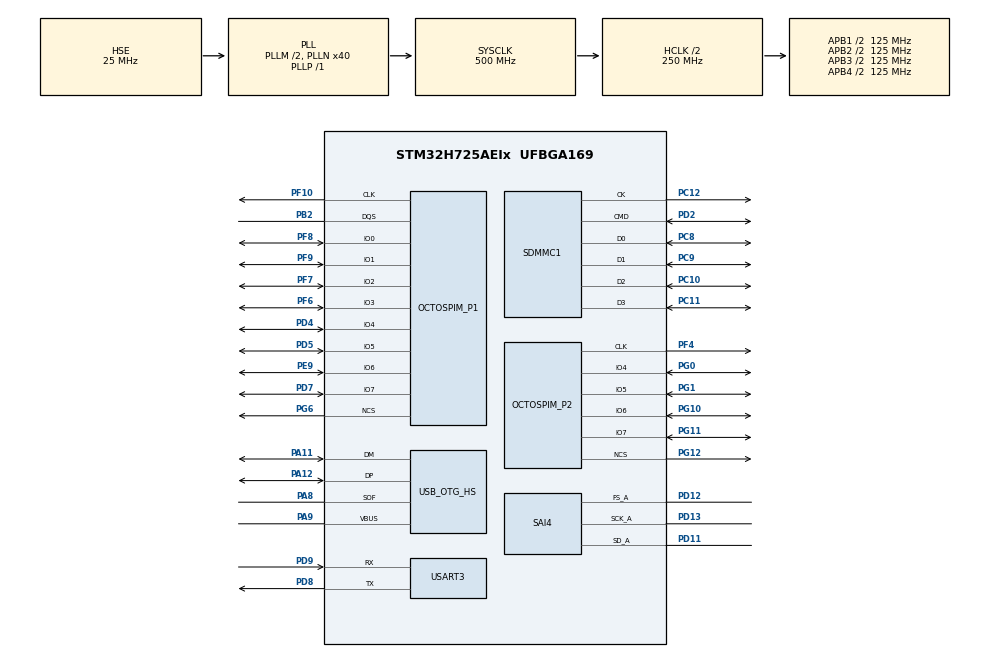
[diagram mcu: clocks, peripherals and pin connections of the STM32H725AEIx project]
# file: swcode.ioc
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Bdma.Request0=SAI4_A
Bdma.RequestsNb=1
Bdma.SAI4_A.0.Direction=DMA_PERIPH_TO_MEMORY
Bdma.SAI4_A.0.EventEnable=DISABLE
Bdma.SAI4_A.0.Instance=BDMA_Channel0
Bdma.SAI4_A.0.MemDataAlignment=DMA_MDATAALIGN_HALFWORD
Bdma.SAI4_A.0.MemInc=DMA_MINC_ENABLE
Bdma.SAI4_A.0.Mode=DMA_CIRCULAR
Bdma.SAI4_A.0.PeriphDataAlignment=DMA_PDATAALIGN_HALFWORD
Bdma.SAI4_A.0.PeriphInc=DMA_PINC_DISABLE
Bdma.SAI4_A.0.Polarity=HAL_DMAMUX_REQ_GEN_RISING
Bdma.SAI4_A.0.Priority=DMA_PRIORITY_HIGH
Bdma.SAI4_A.0.RequestNumber=1
Bdma.SAI4_A.0.SignalID=NONE
Bdma.SAI4_A.0.SyncEnable=DISABLE
Bdma.SAI4_A.0.SyncPolarity=HAL_DMAMUX_SYNC_NO_EVENT
Bdma.SAI4_A.0.SyncRequestNumber=1
Bdma.SAI4_A.0.SyncSignalID=NONE
CORTEX_M7.AccessPermission_S-Cortex_Memory_Protection_Unit_Region1_Settings_S=MPU_REGION_FULL_ACCESS
CORTEX_M7.AccessPermission_S-Cortex_Memory_Protection_Unit_Region2_Settings_S=MPU_REGION_FULL_ACCESS
CORTEX_M7.AccessPermission_S-Cortex_Memory_Protection_Unit_Region3_Settings_S=MPU_REGION_FULL_ACCESS
CORTEX_M7.AccessPermission_S-Cortex_Memory_Protection_Unit_Region4_Settings_S=MPU_REGION_FULL_ACCESS
CORTEX_M7.AccessPermission_S-Cortex_Memory_Protection_Unit_Region5_Settings_S=MPU_REGION_FULL_ACCESS
CORTEX_M7.AccessPermission_S-Cortex_Memory_Protection_Unit_Region6_Settings_S=MPU_REGION_FULL_ACCESS
CORTEX_M7.AccessPermission_S-Cortex_Memory_Protection_Unit_Region7_Settings_S=MPU_REGION_FULL_ACCESS
CORTEX_M7.BaseAddress_S-Cortex_Memory_Protection_Unit_Region1_Settings_S=0x08000000
CORTEX_M7.BaseAddress_S-Cortex_Memory_Protection_Unit_Region2_Settings_S=0x20000000
CORTEX_M7.BaseAddress_S-Cortex_Memory_Protection_Unit_Region3_Settings_S=0x24000000
CORTEX_M7.BaseAddress_S-Cortex_Memory_Protection_Unit_Region4_Settings_S=0x30000000
CORTEX_M7.BaseAddress_S-Cortex_Memory_Protection_Unit_Region5_Settings_S=0x40000000
CORTEX_M7.BaseAddress_S-Cortex_Memory_Protection_Unit_Region6_Settings_S=0x90000000
CORTEX_M7.BaseAddress_S-Cortex_Memory_Protection_Unit_Region7_Settings_S=0x38000000
CORTEX_M7.CPU_DCache=Enabled
CORTEX_M7.CPU_ICache=Enabled
CORTEX_M7.DisableExec_S-Cortex_Memory_Protection_Unit_Region2_Settings_S=MPU_INSTRUCTION_ACCESS_DISABLE
CORTEX_M7.DisableExec_S-Cortex_Memory_Protection_Unit_Region3_Settings_S=MPU_INSTRUCTION_ACCESS_DISABLE
CORTEX_M7.DisableExec_S-Cortex_Memory_Protection_Unit_Region4_Settings_S=MPU_INSTRUCTION_ACCESS_DISABLE
CORTEX_M7.DisableExec_S-Cortex_Memory_Protection_Unit_Region5_Settings_S=MPU_INSTRUCTION_ACCESS_DISABLE
CORTEX_M7.DisableExec_S-Cortex_Memory_Protection_Unit_Region6_Settings_S=MPU_INSTRUCTION_ACCESS_DISABLE
CORTEX_M7.Enable_S-Cortex_Memory_Protection_Unit_Region1_Settings_S=MPU_REGION_ENABLE
CORTEX_M7.Enable_S-Cortex_Memory_Protection_Unit_Region2_Settings_S=MPU_REGION_ENABLE
CORTEX_M7.Enable_S-Cortex_Memory_Protection_Unit_Region3_Settings_S=MPU_REGION_ENABLE
CORTEX_M7.Enable_S-Cortex_Memory_Protection_Unit_Region4_Settings_S=MPU_REGION_ENABLE
CORTEX_M7.Enable_S-Cortex_Memory_Protection_Unit_Region5_Settings_S=MPU_REGION_ENABLE
CORTEX_M7.Enable_S-Cortex_Memory_Protection_Unit_Region6_Settings_S=MPU_REGION_ENABLE
CORTEX_M7.Enable_S-Cortex_Memory_Protection_Unit_Region7_Settings_S=MPU_REGION_ENABLE
CORTEX_M7.IsBufferable_S-Cortex_Memory_Protection_Unit_Region3_Settings_S=MPU_ACCESS_BUFFERABLE
CORTEX_M7.IsBufferable_S-Cortex_Memory_Protection_Unit_Region4_Settings_S=MPU_ACCESS_BUFFERABLE
CORTEX_M7.IsBufferable_S-Cortex_Memory_Protection_Unit_Region5_Settings_S=MPU_ACCESS_BUFFERABLE
CORTEX_M7.IsBufferable_S-Cortex_Memory_Protection_Unit_Region6_Settings_S=MPU_ACCESS_BUFFERABLE
CORTEX_M7.IsCacheable_S-Cortex_Memory_Protection_Unit_Region1_Settings_S=MPU_ACCESS_CACHEABLE
CORTEX_M7.IsCacheable_S-Cortex_Memory_Protection_Unit_Region2_Settings_S=MPU_ACCESS_CACHEABLE
CORTEX_M7.IsCacheable_S-Cortex_Memory_Protection_Unit_Region3_Settings_S=MPU_ACCESS_CACHEABLE
CORTEX_M7.IsCacheable_S-Cortex_Memory_Protection_Unit_Region4_Settings_S=MPU_ACCESS_CACHEABLE
CORTEX_M7.IsCacheable_S-Cortex_Memory_Protection_Unit_Region6_Settings_S=MPU_ACCESS_CACHEABLE
CORTEX_M7.IsCacheable_S-Cortex_Memory_Protection_Unit_Region7_Settings_S=MPU_ACCESS_NOT_CACHEABLE
CORTEX_M7.IsShareable_S-Cortex_Memory_Protection_Unit_Region5_Settings_S=MPU_ACCESS_SHAREABLE
CORTEX_M7.IsShareable_S-Cortex_Memory_Protection_Unit_Region7_Settings_S=MPU_ACCESS_SHAREABLE
CORTEX_M7.MPU_Control=MPU_HFNMI_PRIVDEF
CORTEX_M7.Size_S-Cortex_Memory_Protection_Unit_Region1_Settings_S=MPU_REGION_SIZE_512KB
CORTEX_M7.Size_S-Cortex_Memory_Protection_Unit_Region2_Settings_S=MPU_REGION_SIZE_128KB
CORTEX_M7.Size_S-Cortex_Memory_Protection_Unit_Region3_Settings_S=MPU_REGION_SIZE_512KB
CORTEX_M7.Size_S-Cortex_Memory_Protection_Unit_Region4_Settings_S=MPU_REGION_SIZE_64KB
CORTEX_M7.Size_S-Cortex_Memory_Protection_Unit_Region5_Settings_S=MPU_REGION_SIZE_256MB
CORTEX_M7.Size_S-Cortex_Memory_Protection_Unit_Region6_Settings_S=MPU_REGION_SIZE_32MB
CORTEX_M7.Size_S-Cortex_Memory_Protection_Unit_Region7_Settings_S=MPU_REGION_SIZE_16KB
CORTEX_M7.TypeExtField_S-Cortex_Memory_Protection_Unit_Region2_Settings_S=MPU_TEX_LEVEL1
CORTEX_M7.TypeExtField_S-Cortex_Memory_Protection_Unit_Region3_Settings_S=MPU_TEX_LEVEL1
CORTEX_M7.TypeExtField_S-Cortex_Memory_Protection_Unit_Region4_Settings_S=MPU_TEX_LEVEL1
CORTEX_M7.TypeExtField_S-Cortex_Memory_Protection_Unit_Region6_Settings_S=MPU_TEX_LEVEL1
CORTEX_M7.default_mode_Activation=1
FATFS._FS_EXFAT=1
FATFS._FS_LOCK=4
FATFS._FS_RPATH=2
FATFS._USE_CHMOD=1
FATFS._USE_EXPAND=1
FATFS._USE_FIND=1
FATFS._USE_FORWARD=1
FATFS._USE_LABEL=1
FATFS._USE_LFN=3
FATFS._USE_MUTEX=1
FATFS._USE_TRIM=1
FREERTOS.INCLUDE_pcTaskGetTaskName=1
FREERTOS.INCLUDE_uxTaskGetStackHighWaterMark2=1
FREERTOS.INCLUDE_vTaskCleanUpResources=1
FREERTOS.INCLUDE_xEventGroupSetBitFromISR=1
FREERTOS.INCLUDE_xTaskAbortDelay=1
FREERTOS.INCLUDE_xTaskGetHandle=1
FREERTOS.Tasks01=defaultTask,24,2048,StartDefaultTask,Default,NULL,Dynamic,NULL,NULL;mic2isp,32,1024,mic2isp_task,Default,NULL,Dynamic,NULL,NULL;watchdog,40,512,watchdog_task,Default,NULL,Dynamic,NULL,NULL
FREERTOS.configCHECK_FOR_STACK_OVERFLOW=2
FREERTOS.configENABLE_FPU=1
FREERTOS.configGENERATE_RUN_TIME_STATS=1
FREERTOS.configRECORD_STACK_HIGH_ADDRESS=1
FREERTOS.configTOTAL_HEAP_SIZE=204800
FREERTOS.configUSE_DAEMON_TASK_STARTUP_HOOK=1
FREERTOS.configUSE_IDLE_HOOK=1
FREERTOS.configUSE_MALLOC_FAILED_HOOK=1
FREERTOS.configUSE_NEWLIB_REENTRANT=1
FREERTOS.configUSE_POSIX_ERRNO=1
FREERTOS.configUSE_STATS_FORMATTING_FUNCTIONS=1
FREERTOS.configUSE_TICKLESS_IDLE=1
FREERTOS.configUSE_TICK_HOOK=1
IWDG1.Prescaler=IWDG_PRESCALER_256
Mcu.Family=STM32H7
Mcu.Name=STM32H725AEIx
Mcu.Package=UFBGA169
NVIC.BDMA_Channel0_IRQn=true\:6\:0\:true\:false\:true\:true\:false\:true\:true
NVIC.OTG_HS_EP1_IN_IRQn=true\:8\:0\:true\:false\:true\:true\:true\:true\:true
NVIC.OTG_HS_EP1_OUT_IRQn=true\:8\:0\:true\:false\:true\:true\:true\:true\:true
NVIC.OTG_HS_IRQn=true\:8\:0\:true\:false\:true\:true\:true\:true\:true
NVIC.PriorityGroup=NVIC_PRIORITYGROUP_4
NVIC.SAI4_IRQn=true\:6\:0\:true\:false\:true\:true\:true\:true\:true
NVIC.TIM1_UP_IRQn=true\:15\:0\:false\:false\:true\:false\:false\:true\:true
NVIC.TimeBase=TIM1_UP_IRQn
NVIC.TimeBaseIP=TIM1
NVIC.USART3_IRQn=true\:7\:0\:true\:false\:true\:true\:true\:true\:true
OCTOSPI1.ChipSelectHighTimeCycle=2
OCTOSPI1.ClockMode=HAL_OSPI_CLOCK_MODE_0
OCTOSPI1.ClockPrescaler=4
OCTOSPI1.DelayHoldQuarterCycle=HAL_OSPI_DHQC_DISABLE
OCTOSPI1.DeviceSize=23
OCTOSPI1.DualQuadMode=HAL_OSPI_DUALQUAD_DISABLE
OCTOSPI1.FifoThresholdByte=4
OCTOSPI1.MemoryType=HAL_OSPI_MEMTYPE_APMEMORY
OCTOSPI1.SampleShifting=HAL_OSPI_SAMPLE_SHIFTING_NONE
OCTOSPI1.WrapSize=HAL_OSPI_WRAP_NOT_SUPPORTED
OCTOSPI2.ClockMode=HAL_OSPI_CLOCK_MODE_0
OCTOSPI2.ClockPrescaler=2
OCTOSPI2.DelayHoldQuarterCycle=HAL_OSPI_DHQC_DISABLE
OCTOSPI2.DeviceSize=27
OCTOSPI2.MemoryType=HAL_OSPI_MEMTYPE_MICRON
OCTOSPI2.SampleShifting=HAL_OSPI_SAMPLE_SHIFTING_NONE
OCTOSPI2.WrapSize=HAL_OSPI_WRAP_NOT_SUPPORTED
PA11.Mode=Device_Only_FS
PA11.Signal=USB_OTG_HS_DM
PA12.Mode=Device_Only_FS
PA12.Signal=USB_OTG_HS_DP
PA13(JTMS/SWDIO).Mode=Serial_Wire
PA13(JTMS/SWDIO).Signal=DEBUG_JTMS-SWDIO
PA14(JTCK/SWCLK).Mode=Serial_Wire
PA14(JTCK/SWCLK).Signal=DEBUG_JTCK-SWCLK
PA8.Mode=Activate_SOF_FS
PA8.Signal=USB_OTG_HS_SOF
PA9.Mode=Activate_VBUS_FS
PA9.Signal=USB_OTG_HS_VBUS
PB2.Mode=OCTOSPI1_Port1_DQS
PB2.Signal=OCTOSPIM_P1_DQS
PC10.GPIO_PuPd=GPIO_PULLUP
PC10.Mode=SD_4_bits_Wide_bus
PC10.Signal=SDMMC1_D2
PC11.GPIO_PuPd=GPIO_PULLUP
PC11.Mode=SD_4_bits_Wide_bus
PC11.Signal=SDMMC1_D3
PC12.Mode=SD_4_bits_Wide_bus
PC12.Signal=SDMMC1_CK
PC14-OSC32_IN.Mode=LSE-External-Oscillator
PC14-OSC32_IN.Signal=RCC_OSC32_IN
PC15-OSC32_OUT.Mode=LSE-External-Oscillator
PC15-OSC32_OUT.Signal=RCC_OSC32_OUT
PC8.GPIO_PuPd=GPIO_PULLUP
PC8.Mode=SD_4_bits_Wide_bus
PC8.Signal=SDMMC1_D0
PC9.GPIO_PuPd=GPIO_PULLUP
PC9.Mode=SD_4_bits_Wide_bus
PC9.Signal=SDMMC1_D1
PD11.GPIO_PuPd=GPIO_PULLUP
PD11.GPIO_Speed=GPIO_SPEED_FREQ_VERY_HIGH
PD11.Mode=SAI_A_AsyncSlave
PD11.Signal=SAI4_SD_A
PD12.GPIO_PuPd=GPIO_PULLUP
PD12.GPIO_Speed=GPIO_SPEED_FREQ_VERY_HIGH
PD12.Mode=SAI_A_AsyncSlave
PD12.Signal=SAI4_FS_A
PD13.GPIO_PuPd=GPIO_PULLUP
PD13.GPIO_Speed=GPIO_SPEED_FREQ_VERY_HIGH
PD13.Mode=SAI_A_AsyncSlave
PD13.Signal=SAI4_SCK_A
PD2.GPIO_PuPd=GPIO_PULLUP
PD2.Mode=SD_4_bits_Wide_bus
PD2.Signal=SDMMC1_CMD
PD4.Mode=OCTOSPI1_IOH_Port1H
PD4.Signal=OCTOSPIM_P1_IO4
PD5.Mode=OCTOSPI1_IOH_Port1H
PD5.Signal=OCTOSPIM_P1_IO5
PD7.Mode=OCTOSPI1_IOH_Port1H
PD7.Signal=OCTOSPIM_P1_IO7
PD8.Mode=Asynchronous
PD8.Signal=USART3_TX
PD9.Mode=Asynchronous
PD9.Signal=USART3_RX
PE9.Mode=OCTOSPI1_IOH_Port1H
PE9.Signal=OCTOSPIM_P1_IO6
PF10.Mode=O1_P1_CLK
PF10.Signal=OCTOSPIM_P1_CLK
PF4.Mode=O2_P2_CLK
PF4.Signal=OCTOSPIM_P2_CLK
PF6.Mode=OCTOSPI1_IOL_Port1L
PF6.Signal=OCTOSPIM_P1_IO3
PF7.Mode=OCTOSPI1_IOL_Port1L
PF7.Signal=OCTOSPIM_P1_IO2
PF8.Mode=OCTOSPI1_IOL_Port1L
PF8.Signal=OCTOSPIM_P1_IO0
PF9.Mode=OCTOSPI1_IOL_Port1L
PF9.Signal=OCTOSPIM_P1_IO1
PG0.Mode=OCTOSPI2_IOH_Port2H
PG0.Signal=OCTOSPIM_P2_IO4
PG1.Mode=OCTOSPI2_IOH_Port2H
PG1.Signal=OCTOSPIM_P2_IO5
PG10.Mode=OCTOSPI2_IOH_Port2H
PG10.Signal=OCTOSPIM_P2_IO6
PG11.Mode=OCTOSPI2_IOH_Port2H
PG11.Signal=OCTOSPIM_P2_IO7
PG12.Mode=OCTOSPI2_Port2_NCS
PG12.Signal=OCTOSPIM_P2_NCS
PG6.Mode=OCTOSPI1_Port1_NCS
PG6.Signal=OCTOSPIM_P1_NCS
PH0-OSC_IN.Mode=HSE-External-Oscillator
PH0-OSC_IN.Signal=RCC_OSC_IN
PH1-OSC_OUT.Mode=HSE-External-Oscillator
PH1-OSC_OUT.Signal=RCC_OSC_OUT
ProjectManager.HeapSize=0x4000
ProjectManager.StackSize=0x2000
ProjectManager.TargetToolchain=STM32CubeIDE
RCC.ADCFreq_Value=200000000
RCC.APB1Freq_Value=125000000
RCC.APB2Freq_Value=125000000
RCC.APB3Freq_Value=125000000
RCC.APB4Freq_Value=125000000
RCC.CortexFreq_Value=500000000
RCC.D1PPRE=RCC_APB3_DIV2
RCC.D2PPRE1=RCC_APB1_DIV2
RCC.D2PPRE2=RCC_APB2_DIV2
RCC.D3PPRE=RCC_APB4_DIV2
RCC.DIVM1=2
RCC.DIVM2=5
RCC.DIVM3=5
RCC.DIVN1=40
RCC.DIVN2=80
RCC.DIVN3=80
RCC.DIVP1=1
RCC.DIVQ1=4
RCC.HCLKFreq_Value=250000000
RCC.HPRE=RCC_HCLK_DIV2
RCC.HSE_VALUE=25000000
RCC.HSI_VALUE=64000000
RCC.PLLSourceVirtual=RCC_PLLSOURCE_HSE
RCC.SYSCLKFreq_VALUE=500000000
RCC.SYSCLKSource=RCC_SYSCLKSOURCE_PLLCLK
RCC.USBCLockSelection=RCC_USBCLKSOURCE_HSI48
RCC.USBFreq_Value=48000000
SAI4.BasicProtocol-SAI_A_AsyncSlave=SAI_PCM_SHORT
SAI4.BasicSlotNumber-SAI_A_AsyncSlave=8
SAI4.FIFOThreshold-SAI_A_AsyncSlave=SAI_FIFOTHRESHOLD_1QF
SAI4.InitProtocol-SAI_A_AsyncSlave=Enable
SAI4.Instance-SAI_A_AsyncSlave=SAI$Index_Block_A
SAI4.MonoStereoMode-SAI_A_AsyncSlave=SAI_STEREOMODE
SAI4.OutputDrive-SAI_A_AsyncSlave=SAI_OUTPUTDRIVE_ENABLE
SAI4.VirtualMode-SAI_A_AsyncSlave=VM_SLAVE
SAI4.VirtualProtocol-SAI_A_BASIC=VM_BASIC_PROTOCOL
SDMMC1.ClockDiv=0
SDMMC1.HardwareFlowControl=SDMMC_HARDWARE_FLOW_CONTROL_ENABLE
USART3.VirtualMode-Asynchronous=VM_ASYNC
USB_DEVICE.CLASS_NAME_HS=MSC
USB_DEVICE.MSC_MEDIA_PACKET=2048
USB_DEVICE.USBD_DEBUG_LEVEL=3
USB_DEVICE.USBD_LPM_ENABLED=0
USB_DEVICE.USBD_SELF_POWERED=0
USB_DEVICE.VirtualMode=Msc
USB_DEVICE.VirtualModeHS=Msc_HS
USB_OTG_HS.VirtualMode-Device_Only_FS=Device_Only_FS
USB_OTG_HS.dma_enable-Device_Only_FS=DISABLE
USB_OTG_HS.low_power_enable-Device_Only_FS=DISABLE
USB_OTG_HS.lpm_enable-Device_Only_FS=DISABLE
USB_OTG_HS.use_dedicated_ep1-Device_Only_FS=ENABLE
VP_FATFS_VS_Generic.Mode=User_defined
VP_FREERTOS_VS_CMSIS_V2.Mode=CMSIS_V2
VP_IWDG1_VS_IWDG.Mode=IWDG_Activate
VP_MEMORYMAP_VS_MEMORYMAP.Mode=CurAppReg
VP_OCTOSPI1_VS_octo.Mode=octo_mode
VP_OCTOSPI2_VS_octo.Mode=dual_quad_mode
VP_SAI4_VP_$IpInstance_SAIA_SAI_BASIC.Mode=SAI_A_BASIC
VP_SYS_VS_tim1.Mode=TIM1
VP_USB_DEVICE_VS_USB_DEVICE_MSC_HS.Mode=MSC_HS
board=custom

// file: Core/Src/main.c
/* USER CODE BEGIN Header */
/**
  ******************************************************************************
  * @file           : main.c
  * @brief          : Main program body
  ******************************************************************************
  * @attention
  *
  * Copyright (c) 2025 STMicroelectronics.
  * All rights reserved.
  *
  * This software is licensed under terms that can be found in the LICENSE file
  * in the root directory of this software component.
  * If no LICENSE file comes with this software, it is provided AS-IS.
  *
  ******************************************************************************
  */
/* USER CODE END Header */
#include "main.h"
#include "cmsis_os.h"
#include "bdma.h"
#include "fatfs.h"
#include "iwdg.h"
#include "octospi.h"
#include "sai.h"
#include "sdmmc.h"
#include "usart.h"
#include "usb_device.h"
#include "gpio.h"

/* USER CODE BEGIN Includes */
#include "string.h"
#include "ffconf.h"
#include "clock_management.h"
#include "shell_port.h"
#include "shell.h"
#include "shell_log.h"
#include "audio_recorder.h"
#include "fs_manager.h"
#include <stdio.h>
/* USER CODE END Includes */

/* USER CODE BEGIN PV */
// Shell实例声明
extern Shell shell;
/* USER CODE END PV */

void SystemClock_Config(void);
static void MPU_Config(void);
void MX_FREERTOS_Init(void);
/* USER CODE BEGIN PFP */
// 声明UART接收回调函数
void HAL_UART_RxCpltCallback(UART_HandleTypeDef *huart);
/* USER CODE END PFP */

int main(void)
{

  /* MPU Configuration--------------------------------------------------------*/
  MPU_Config();

  /* Enable the CPU Cache */

  /* Enable I-Cache---------------------------------------------------------*/
  SCB_EnableICache();

  /* Enable D-Cache---------------------------------------------------------*/
  SCB_EnableDCache();

  /* MCU Configuration--------------------------------------------------------*/

  /* Reset of all peripherals, Initializes the Flash interface and the Systick. */
  HAL_Init();

  /* Configure the system clock */
  SystemClock_Config();

  /* Initialize all configured peripherals */
  MX_GPIO_Init();
  MX_BDMA_Init();
  MX_SDMMC1_SD_Init();
  MX_FATFS_Init();
  MX_USART3_UART_Init();
  // 初始化日志系统
  shellLogInit();
  // 初始化Shell
  shell_init();
  // 输出Shell初始化日志
  shell_init_log_output();
  MX_SAI4_Init();

  MX_OCTOSPI1_Init();
  MX_OCTOSPI2_Init();
  MX_IWDG1_Init();
  /* USER CODE BEGIN 2 */

  // 初始化全局文件系统管理器（一次性挂载）
  if (fs_manager_init() == 0) {
    SHELL_LOG_SYS_INFO("Global file system manager initialized successfully");
  } else {
    SHELL_LOG_SYS_ERROR("Failed to initialize global file system manager");
  }

   SHELL_LOG_SYS_INFO("System Clock: %lu Hz", HAL_RCC_GetSysClockFreq());

  // 初始化音频录制器
  if (audio_recorder_init() == 0) {
    SHELL_LOG_SYS_INFO("Audio recorder initialized successfully");
  } else {
    SHELL_LOG_SYS_ERROR("Failed to initialize audio recorder");
  }

  // 测试日志系统
  SHELL_LOG_SYS_INFO("System initialization completed, starting FreeRTOS scheduler");

  // UART接收中断将在shell任务中启动，这里不需要重复启动

  // 测试不同级别的调试输出 - 已禁用
  // DEBUG_PRINTF("Debug system test - all peripherals initialized");
  // SUCCESS_PRINTF("All hardware initialization completed");
  // INFO_PRINTF("MCU ready, starting FreeRTOS scheduler");

  // 演示颜色功能测试 - 已禁用
  // WARN_PRINTF("This is a warning message test");

  /* USER CODE END 2 */

  /* Init scheduler */
  osKernelInitialize();  /* Call init function for freertos objects (in cmsis_os2.c) */
  MX_FREERTOS_Init();

  /* Start scheduler */
  osKernelStart();

  /* We should never get here as control is now taken by the scheduler */

  /* Infinite loop */
  while (1)
  {

  }
}

void SystemClock_Config(void)
{
  RCC_OscInitTypeDef RCC_OscInitStruct = {0};
  RCC_ClkInitTypeDef RCC_ClkInitStruct = {0};

  /** Supply configuration update enable
  */
  HAL_PWREx_ConfigSupply(PWR_DIRECT_SMPS_SUPPLY);

  /** Configure the main internal regulator output voltage
  */
  __HAL_PWR_VOLTAGESCALING_CONFIG(PWR_REGULATOR_VOLTAGE_SCALE0);

  while(!__HAL_PWR_GET_FLAG(PWR_FLAG_VOSRDY)) {}

  /** Initializes the RCC Oscillators according to the specified parameters
  * in the RCC_OscInitTypeDef structure.
  */
  RCC_OscInitStruct.OscillatorType = RCC_OSCILLATORTYPE_HSI48|RCC_OSCILLATORTYPE_LSI
                              |RCC_OSCILLATORTYPE_HSE;
  RCC_OscInitStruct.HSEState = RCC_HSE_ON;
  RCC_OscInitStruct.LSIState = RCC_LSI_ON;
  RCC_OscInitStruct.HSI48State = RCC_HSI48_ON;
  RCC_OscInitStruct.PLL.PLLState = RCC_PLL_ON;
  RCC_OscInitStruct.PLL.PLLSource = RCC_PLLSOURCE_HSE;
  RCC_OscInitStruct.PLL.PLLM = 2;
  RCC_OscInitStruct.PLL.PLLN = 40;
  RCC_OscInitStruct.PLL.PLLP = 1;
  RCC_OscInitStruct.PLL.PLLQ = 4;
  RCC_OscInitStruct.PLL.PLLR = 2;
  RCC_OscInitStruct.PLL.PLLRGE = RCC_PLL1VCIRANGE_3;
  RCC_OscInitStruct.PLL.PLLVCOSEL = RCC_PLL1VCOWIDE;
  RCC_OscInitStruct.PLL.PLLFRACN = 0;
  if (HAL_RCC_OscConfig(&RCC_OscInitStruct) != HAL_OK)
  {
    Error_Handler();
  }

  /** Initializes the CPU, AHB and APB buses clocks
  */
  RCC_ClkInitStruct.ClockType = RCC_CLOCKTYPE_HCLK|RCC_CLOCKTYPE_SYSCLK
                              |RCC_CLOCKTYPE_PCLK1|RCC_CLOCKTYPE_PCLK2
                              |RCC_CLOCKTYPE_D3PCLK1|RCC_CLOCKTYPE_D1PCLK1;
  RCC_ClkInitStruct.SYSCLKSource = RCC_SYSCLKSOURCE_PLLCLK;
  RCC_ClkInitStruct.SYSCLKDivider = RCC_SYSCLK_DIV1;
  RCC_ClkInitStruct.AHBCLKDivider = RCC_HCLK_DIV2;
  RCC_ClkInitStruct.APB3CLKDivider = RCC_APB3_DIV2;
  RCC_ClkInitStruct.APB1CLKDivider = RCC_APB1_DIV2;
  RCC_ClkInitStruct.APB2CLKDivider = RCC_APB2_DIV2;
  RCC_ClkInitStruct.APB4CLKDivider = RCC_APB4_DIV2;

  if (HAL_RCC_ClockConfig(&RCC_ClkInitStruct, FLASH_LATENCY_3) != HAL_OK)
  {
    Error_Handler();
  }
}

 /* MPU Configuration */

void MPU_Config(void)
{
  MPU_Region_InitTypeDef MPU_InitStruct = {0};

  /* Disables the MPU */
  HAL_MPU_Disable();

  /** Initializes and configures the Region and the memory to be protected
  */
  MPU_InitStruct.Enable = MPU_REGION_ENABLE;
  MPU_InitStruct.Number = MPU_REGION_NUMBER0;
  MPU_InitStruct.BaseAddress = 0x0;
  MPU_InitStruct.Size = MPU_REGION_SIZE_4GB;
  MPU_InitStruct.SubRegionDisable = 0x87;
  MPU_InitStruct.TypeExtField = MPU_TEX_LEVEL0;
  MPU_InitStruct.AccessPermission = MPU_REGION_NO_ACCESS;
  MPU_InitStruct.DisableExec = MPU_INSTRUCTION_ACCESS_DISABLE;
  MPU_InitStruct.IsShareable = MPU_ACCESS_SHAREABLE;
  MPU_InitStruct.IsCacheable = MPU_ACCESS_NOT_CACHEABLE;
  MPU_InitStruct.IsBufferable = MPU_ACCESS_NOT_BUFFERABLE;

  HAL_MPU_ConfigRegion(&MPU_InitStruct);

  /** Initializes and configures the Region and the memory to be protected
  */
  MPU_InitStruct.Number = MPU_REGION_NUMBER1;
  MPU_InitStruct.BaseAddress = 0x08000000;
  MPU_InitStruct.Size = MPU_REGION_SIZE_512KB;
  MPU_InitStruct.SubRegionDisable = 0x0;
  MPU_InitStruct.AccessPermission = MPU_REGION_FULL_ACCESS;
  MPU_InitStruct.DisableExec = MPU_INSTRUCTION_ACCESS_ENABLE;
  MPU_InitStruct.IsShareable = MPU_ACCESS_NOT_SHAREABLE;
  MPU_InitStruct.IsCacheable = MPU_ACCESS_CACHEABLE;

  HAL_MPU_ConfigRegion(&MPU_InitStruct);

  /** Initializes and configures the Region and the memory to be protected
  */
  MPU_InitStruct.Number = MPU_REGION_NUMBER2;
  MPU_InitStruct.BaseAddress = 0x20000000;
  MPU_InitStruct.Size = MPU_REGION_SIZE_128KB;
  MPU_InitStruct.TypeExtField = MPU_TEX_LEVEL1;
  MPU_InitStruct.DisableExec = MPU_INSTRUCTION_ACCESS_DISABLE;

  HAL_MPU_ConfigRegion(&MPU_InitStruct);

  /** Initializes and configures the Region and the memory to be protected
  */
  MPU_InitStruct.Number = MPU_REGION_NUMBER3;
  MPU_InitStruct.BaseAddress = 0x24000000;
  MPU_InitStruct.Size = MPU_REGION_SIZE_512KB;
  MPU_InitStruct.IsBufferable = MPU_ACCESS_BUFFERABLE;

  HAL_MPU_ConfigRegion(&MPU_InitStruct);

  /** Initializes and configures the Region and the memory to be protected
  */
  MPU_InitStruct.Number = MPU_REGION_NUMBER4;
  MPU_InitStruct.BaseAddress = 0x30000000;
  MPU_InitStruct.Size = MPU_REGION_SIZE_64KB;

  HAL_MPU_ConfigRegion(&MPU_InitStruct);

  /** Initializes and configures the Region and the memory to be protected
  */
  MPU_InitStruct.Number = MPU_REGION_NUMBER5;
  MPU_InitStruct.BaseAddress = 0x40000000;
  MPU_InitStruct.Size = MPU_REGION_SIZE_256MB;
  MPU_InitStruct.TypeExtField = MPU_TEX_LEVEL0;
  MPU_InitStruct.IsShareable = MPU_ACCESS_SHAREABLE;
  MPU_InitStruct.IsCacheable = MPU_ACCESS_NOT_CACHEABLE;

  HAL_MPU_ConfigRegion(&MPU_InitStruct);

  /** Initializes and configures the Region and the memory to be protected
  */
  MPU_InitStruct.Number = MPU_REGION_NUMBER6;
  MPU_InitStruct.BaseAddress = 0x90000000;
  MPU_InitStruct.Size = MPU_REGION_SIZE_32MB;
  MPU_InitStruct.TypeExtField = MPU_TEX_LEVEL1;
  MPU_InitStruct.IsShareable = MPU_ACCESS_NOT_SHAREABLE;
  MPU_InitStruct.IsCacheable = MPU_ACCESS_CACHEABLE;

  HAL_MPU_ConfigRegion(&MPU_InitStruct);

  /** Initializes and configures the Region and the memory to be protected
  */
  MPU_InitStruct.Number = MPU_REGION_NUMBER7;
  MPU_InitStruct.BaseAddress = 0x38000000;
  MPU_InitStruct.Size = MPU_REGION_SIZE_16KB;
  MPU_InitStruct.TypeExtField = MPU_TEX_LEVEL0;
  MPU_InitStruct.DisableExec = MPU_INSTRUCTION_ACCESS_ENABLE;
  MPU_InitStruct.IsShareable = MPU_ACCESS_SHAREABLE;
  MPU_InitStruct.IsCacheable = MPU_ACCESS_NOT_CACHEABLE;
  MPU_InitStruct.IsBufferable = MPU_ACCESS_NOT_BUFFERABLE;

  HAL_MPU_ConfigRegion(&MPU_InitStruct);
  /* Enables the MPU */
  HAL_MPU_Enable(MPU_HFNMI_PRIVDEF);

}

void HAL_TIM_PeriodElapsedCallback(TIM_HandleTypeDef *htim)
{
  if (htim->Instance == TIM1)
  {
    HAL_IncTick();
  }
}

void Error_Handler(void)
{
  /* USER CODE BEGIN Error_Handler_Debug */
  /* User can add his own implementation to report the HAL error return state */
  SHELL_LOG_SYS_ERROR("Critical Error Occurred!");
  SHELL_LOG_SYS_ERROR("System halted - check hardware connections");

  __disable_irq();
  while (1)
  {
  }
  /* USER CODE END Error_Handler_Debug */
}

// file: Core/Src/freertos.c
/* USER CODE BEGIN Header */
/**
  ******************************************************************************
  * File Name          : freertos.c
  * Description        : Code for freertos applications
  ******************************************************************************
  * @attention
  *
  * Copyright (c) 2025 STMicroelectronics.
  * All rights reserved.
  *
  * This software is licensed under terms that can be found in the LICENSE file
  * in the root directory of this software component.
  * If no LICENSE file comes with this software, it is provided AS-IS.
  *
  ******************************************************************************
  */
/* USER CODE END Header */

#include "FreeRTOS.h"
#include "task.h"
#include "main.h"
#include "cmsis_os.h"

/* USER CODE BEGIN Includes */
#include "shell_log.h"  /* SHELL_LOG_TASK_xxx macros */
#include "shell_port.h" /* shell_start() */
#include "fatfs_init.h"
#include "sdmmc.h"
#include "spi.h"
/* USER CODE END Includes */

/* Definitions for defaultTask */
osThreadId_t defaultTaskHandle;
const osThreadAttr_t defaultTask_attributes = {
  .name = "defaultTask",
  .stack_size = 1024 * 4,
  .priority = (osPriority_t) osPriorityNormal,
};
/* Definitions for fileSystemTask */
osThreadId_t fileSystemTaskHandle;
const osThreadAttr_t fileSystemTask_attributes = {
  .name = "fileSystemTask",
  .stack_size = 1024 * 4,
  .priority = (osPriority_t) osPriorityNormal,
};
/* Definitions for bt2ispTask */
osThreadId_t bt2ispTaskHandle;
const osThreadAttr_t bt2ispTask_attributes = {
  .name = "bt2ispTask",
  .stack_size = 1024 * 4,
  .priority = (osPriority_t) osPriorityNormal,
};

void StartDefaultTask(void *argument);
void StartFileSystemTask(void *argument);
void StartBt2IspTask(void *argument);

void MX_FREERTOS_Init(void); /* (MISRA C 2004 rule 8.1) */

/* Hook prototypes */
void configureTimerForRunTimeStats(void);
unsigned long getRunTimeCounterValue(void);
void vApplicationIdleHook(void);
void vApplicationTickHook(void);
void vApplicationStackOverflowHook(xTaskHandle xTask, signed char *pcTaskName);
void vApplicationMallocFailedHook(void);
void vApplicationDaemonTaskStartupHook(void);

/* USER CODE BEGIN 1 */
/* Functions needed when configGENERATE_RUN_TIME_STATS is on */
__weak void configureTimerForRunTimeStats(void)
{

}

__weak unsigned long getRunTimeCounterValue(void)
{
return 0;
}
/* USER CODE END 1 */

/* USER CODE BEGIN 2 */
void vApplicationIdleHook( void )
{
   /* vApplicationIdleHook() will only be called if configUSE_IDLE_HOOK is set
   to 1 in FreeRTOSConfig.h. It will be called on each iteration of the idle
   task. It is essential that code added to this hook function never attempts
   to block in any way (for example, call xQueueReceive() with a block time
   specified, or call vTaskDelay()). If the application makes use of the
   vTaskDelete() API function (as this demo application does) then it is also
   important that vApplicationIdleHook() is permitted to return to its calling
   function, because it is the responsibility of the idle task to clean up
   memory allocated by the kernel to any task that has since been deleted. */
}
/* USER CODE END 2 */

/* USER CODE BEGIN 3 */
void vApplicationTickHook( void )
{
   /* This function will be called by each tick interrupt if
   configUSE_TICK_HOOK is set to 1 in FreeRTOSConfig.h. User code can be
   added here, but the tick hook is called from an interrupt context, so
   code must not attempt to block, and only the interrupt safe FreeRTOS API
   functions can be used (those that end in FromISR()). */
}
/* USER CODE END 3 */

/* USER CODE BEGIN 4 */
void vApplicationStackOverflowHook(xTaskHandle xTask, signed char *pcTaskName)
{
   /* Run time stack overflow checking is performed if
   configCHECK_FOR_STACK_OVERFLOW is defined to 1 or 2. This hook function is
   called if a stack overflow is detected. */

#if defined(BOOTLOADER)
   /* BOOTLOADER 模式使用 DEBUG_xxx 宏 */
   DEBUG_ERROR("=== STACK OVERFLOW DETECTED ===");
   DEBUG_ERROR("Task Name: %s", pcTaskName ? (char*)pcTaskName : "Unknown");
   DEBUG_ERROR("Task Handle: 0x%08X", (uint32_t)xTask);
   DEBUG_ERROR("Free Heap: %d bytes", (int)xPortGetFreeHeapSize());
#else
   /* APP 模式使用 SHELL_LOG_xxx 宏 */
   SHELL_LOG_TASK_ERROR("=== STACK OVERFLOW DETECTED ===");
   SHELL_LOG_TASK_ERROR("Task Name: %s", pcTaskName ? (char*)pcTaskName : "Unknown");
   SHELL_LOG_TASK_ERROR("Task Handle: 0x%08X", (uint32_t)xTask);
   SHELL_LOG_TASK_ERROR("Free Heap: %d bytes", (int)xPortGetFreeHeapSize());
#endif

   /* 系统将会崩溃，调用错误处理函数 */
   Error_Handler();
}
/* USER CODE END 4 */

/* USER CODE BEGIN 5 */
void vApplicationMallocFailedHook(void)
{
   /* vApplicationMallocFailedHook() will only be called if
   configUSE_MALLOC_FAILED_HOOK is set to 1 in FreeRTOSConfig.h. It is a hook
   function that will get called if a call to pvPortMalloc() fails.
   pvPortMalloc() is called internally by the kernel whenever a task, queue,
   timer or semaphore is created. It is also called by various parts of the
   demo application. If heap_1.c or heap_2.c are used, then the size of the
   heap available to pvPortMalloc() is defined by configTOTAL_HEAP_SIZE in
   FreeRTOSConfig.h, and the xPortGetFreeHeapSize() API function can be used
   to query the size of free heap space that remains (although it does not
   provide information on how the remaining heap might be fragmented). */

#if defined(BOOTLOADER)
   /* BOOTLOADER 模式使用 DEBUG_xxx 宏 */
   DEBUG_ERROR("=== MEMORY ALLOCATION FAILED ===");
   DEBUG_ERROR("Free Heap Size: %d bytes", (int)xPortGetFreeHeapSize());
   DEBUG_ERROR("Minimum Ever Free Heap: %d bytes", (int)xPortGetMinimumEverFreeHeapSize());
#else
   /* APP 模式使用 SHELL_LOG_xxx 宏 */
   SHELL_LOG_TASK_ERROR("=== MEMORY ALLOCATION FAILED ===");
   SHELL_LOG_TASK_ERROR("Free Heap Size: %d bytes", (int)xPortGetFreeHeapSize());
   SHELL_LOG_TASK_ERROR("Minimum Ever Free Heap: %d bytes", (int)xPortGetMinimumEverFreeHeapSize());
#endif

   /* 系统将会崩溃，调用错误处理函数 */
   Error_Handler();
}
/* USER CODE END 5 */

/* USER CODE BEGIN DAEMON_TASK_STARTUP_HOOK */
void vApplicationDaemonTaskStartupHook(void)
{
}
/* USER CODE END DAEMON_TASK_STARTUP_HOOK */

/* USER CODE BEGIN PREPOSTSLEEP */
__weak void PreSleepProcessing(uint32_t ulExpectedIdleTime)
{
/* place for user code */
}

__weak void PostSleepProcessing(uint32_t ulExpectedIdleTime)
{
/* place for user code */
}
/* USER CODE END PREPOSTSLEEP */

void MX_FREERTOS_Init(void) {

  /* Create the thread(s) */
  /* creation of defaultTask */
  defaultTaskHandle = osThreadNew(StartDefaultTask, NULL, &defaultTask_attributes);

  /* creation of fileSystemTask */
  fileSystemTaskHandle = osThreadNew(StartFileSystemTask, NULL, &fileSystemTask_attributes);

  /* creation of bt2ispTask */
  bt2ispTaskHandle = osThreadNew(StartBt2IspTask, NULL, &bt2ispTask_attributes);

}

void StartDefaultTask(void *argument)
{
  /* USER CODE BEGIN StartDefaultTask */

  /* 完成 shell 初始化（创建任务和队列） */
  shell_start();

  SHELL_LOG_TASK_INFO("DefaultTask: FreeRTOS started (heap: %d bytes)", (int)xPortGetFreeHeapSize());

  /* Wait for system stabilization */
  osDelay(100);

  //extern void BSP_SDRAM_Performance_Test(void);
  //BSP_SDRAM_Performance_Test();

  SHELL_LOG_TASK_INFO("DefaultTask: Initialization complete");

  /* Infinite loop */
  //uint32_t loop_count = 0;

  for(;;)
  {
   //  loop_count++;

   //  /* 每10秒打印一次状态信息 */
   //  if (loop_count % 10 == 0) {
   //    SHELL_LOG_TASK_DEBUG("DefaultTask: Running - Loop: %lu, Free Heap: %d bytes",
   //               loop_count / 10, (int)xPortGetFreeHeapSize());
   //  }

    osDelay(1000);
  }
  /* USER CODE END StartDefaultTask */
}

void StartFileSystemTask(void *argument)
{
  /* USER CODE BEGIN StartFileSystemTask */

  SHELL_LOG_TASK_INFO("FileSystemTask: Starting...");

  /* Wait a bit to ensure other peripherals are ready */
  osDelay(200);

  /* Initialize SDMMC1 in RTOS context */
  SHELL_LOG_TASK_INFO("FileSystemTask: Initializing SD card...");
  MX_SDMMC1_SD_Init();
  SHELL_LOG_TASK_INFO("FileSystemTask: SD card initialization complete");

  /* Initialize FatFs (required for DMA/interrupts) */
  SHELL_LOG_TASK_INFO("FileSystemTask: Initializing FatFs...");
  if (fatfs_init() == 0) {
      SHELL_LOG_FATFS_INFO("FileSystemTask: FatFs initialized successfully");
  } else {
      SHELL_LOG_FATFS_ERROR("FileSystemTask: FatFs initialization failed");
  }

  SHELL_LOG_TASK_INFO("FileSystemTask: File system ready");

  /* Infinite loop - File system management tasks */
  for(;;)
  {
    /* 这里可以添加文件系统相关的周期性任务 */
    /* 例如：
     * - 监控SD卡状态
     * - 定期同步文件系统
     * - 处理文件操作队列
     */

    osDelay(5000);  // 每5秒检查一次
  }
  /* USER CODE END StartFileSystemTask */
}

void StartBt2IspTask(void *argument)
{
  /* USER CODE BEGIN StartBt2IspTask */
   //MX_SPI1_Init();
  /* Infinite loop */
  for(;;)
  {
    osDelay(1);
  }
  /* USER CODE END StartBt2IspTask */
}
